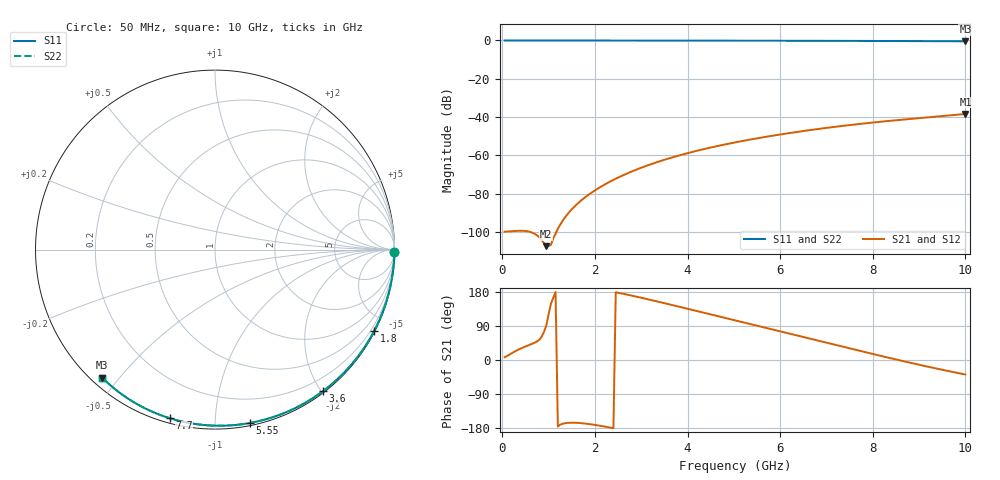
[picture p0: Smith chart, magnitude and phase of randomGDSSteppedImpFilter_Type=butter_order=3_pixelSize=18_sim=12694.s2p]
! freq	dB(S11)	phase(S11)	dB(S12)	phase(S12)
!  dB(S21)	phase(S21)	dB(S22)	phase(S22)
!S-par simulation data
#  GHz  S  DB  R 50
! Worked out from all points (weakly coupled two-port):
!   200 points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, 50 MHz to 10 GHz, reference 50 ohm
!   highest |S21| = -38.37 dB at 10 GHz (marker M1); lowest = -107.4 dB at 950 MHz (marker M2)
!   lowest |S11| = -0.4 dB at 10 GHz (marker M3), VSWR 39.68, Z = 1.52 - j22.5 ohm
!   |S11| at or under -10 dB: nowhere
!   |S22| runs from -0.4 to 0.0 dB; largest |S21 - S12| = 0
!   S11 on the Smith chart (normalised r, x): 50 MHz: open; 1.8 GHz: 0.04, -4.17; 3.6 GHz: 0.02, -2.02; 5.55 GHz: 0.02, -1.22; 7.7 GHz: 0.02, -0.77; 10 GHz: 0.03, -0.45
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0.05  -0.00 -0.8  -99.84 7.4  -99.84 7.4  -0.00 -0.8
0.5  -0.01 -7.6  -99.46 35.5  -99.46 35.5  -0.01 -7.6
0.95  -0.02 -14.3  -107.39 90.9  -107.39 90.9  -0.02 -14.3
1.75  -0.03 -26.2  -82.61 -167.2  -82.61 -167.2  -0.03 -26.2
1.8  -0.03 -26.9  -81.66 -167.9  -81.66 -167.9  -0.03 -26.9
1.9  -0.04 -28.4  -79.90 -169.5  -79.90 -169.5  -0.04 -28.4
2.05  -0.04 -30.6  -77.51 -172.2  -77.51 -172.2  -0.04 -30.6
2.25  -0.04 -33.5  -74.68 -176.5  -74.68 -176.5  -0.04 -33.5
2.65  -0.05 -39.3  -69.91 173.7  -69.91 173.7  -0.05 -39.3
3  -0.06 -44.3  -66.44 164.3  -66.44 164.3  -0.06 -44.3
3.4  -0.07 -49.9  -63.06 152.9  -63.06 152.9  -0.07 -49.9
3.6  -0.07 -52.7  -61.55 147.1  -61.55 147.1  -0.07 -52.7
3.9  -0.08 -56.8  -59.48 138.2  -59.48 138.2  -0.08 -56.8
4.3  -0.09 -62.3  -57.02 126.3  -57.02 126.3  -0.09 -62.3
5.05  -0.11 -72.2  -53.11 103.9  -53.11 103.9  -0.11 -72.2
5.55  -0.13 -78.7  -50.89 89.0  -50.89 89.0  -0.13 -78.7
6.1  -0.15 -85.6  -48.71 72.6  -48.71 72.6  -0.15 -85.6
6.7  -0.18 -93.1  -46.60 54.6  -46.60 54.6  -0.18 -93.1
7.7  -0.24 -105.1  -43.62 24.7  -43.62 24.7  -0.24 -105.1
8.35  -0.29 -112.7  -42.00 5.7  -42.00 5.7  -0.29 -112.7
9.15  -0.36 -121.8  -40.23 -16.6  -40.23 -16.6  -0.36 -121.8
10  -0.44 -131.4  -38.37 -38.3  -38.37 -38.3  -0.44 -131.4
